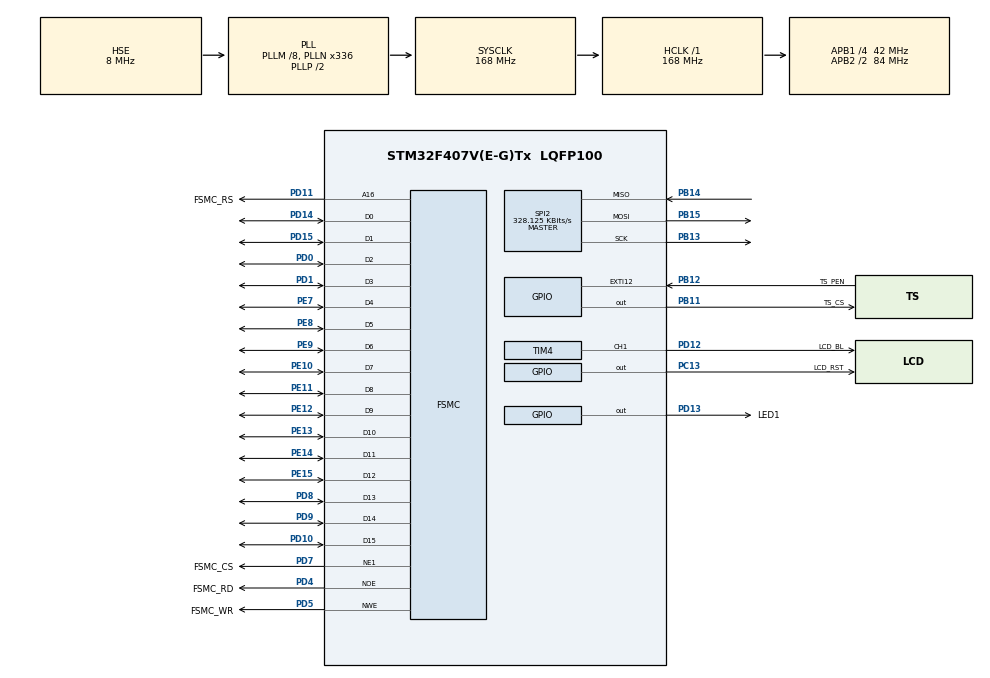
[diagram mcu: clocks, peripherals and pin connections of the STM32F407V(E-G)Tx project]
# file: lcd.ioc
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FREERTOS.Tasks01=defaultTask,0,128,StartDefaultTask
FSMC.AddressSetupTime1=2
FSMC.BusTurnAroundDuration1=0
FSMC.DataSetupTime1=5
Mcu.Family=STM32F4
Mcu.Name=STM32F407V(E-G)Tx
Mcu.Package=LQFP100
NVIC.EXTI15_10_IRQn=true\:5\:0\:false
NVIC.PriorityGroup=NVIC_PRIORITYGROUP_4
PB11.GPIO_Label=TS_CS
PB11.Signal=GPIO_Output
PB12.GPIO_Label=TS_PEN
PB12.GPIO_ModeDefaultEXTI=GPIO_MODE_IT_FALLING
PB12.Signal=GPXTI12
PB13.Mode=Full_Duplex_Master
PB13.Signal=SPI2_SCK
PB14.Mode=Full_Duplex_Master
PB14.Signal=SPI2_MISO
PB15.Mode=Full_Duplex_Master
PB15.Signal=SPI2_MOSI
PC13-ANTI_TAMP.GPIO_Label=LCD_RST
PC13-ANTI_TAMP.GPIO_ModeDefaultOutputPP=GPIO_MODE_OUTPUT_PP
PC13-ANTI_TAMP.GPIO_PuPd=GPIO_NOPULL
PC13-ANTI_TAMP.GPIO_Speed=GPIO_SPEED_LOW
PC13-ANTI_TAMP.Signal=GPIO_Output
PD0.Mode=16b-d1
PD0.Signal=FSMC_D2
PD1.Mode=16b-d1
PD1.Signal=FSMC_D3
PD10.Mode=16b-d1
PD10.Signal=FSMC_D15
PD11.GPIO_Label=FSMC_RS
PD11.Mode=A16_1
PD11.Signal=FSMC_A16
PD12.GPIO_Label=LCD_BL
PD12.Signal=S_TIM4_CH1
PD13.GPIO_Label=LED1
PD13.Signal=GPIO_Output
PD14.Mode=16b-d1
PD14.Signal=FSMC_D0
PD15.Mode=16b-d1
PD15.Signal=FSMC_D1
PD4.GPIO_Label=FSMC_RD
PD4.Mode=Lcd1
PD4.Signal=FSMC_NOE
PD5.GPIO_Label=FSMC_WR
PD5.Mode=Lcd1
PD5.Signal=FSMC_NWE
PD7.GPIO_Label=FSMC_CS
PD7.Mode=NorPsramChipSelect1_1
PD7.Signal=FSMC_NE1
PD8.Mode=16b-d1
PD8.Signal=FSMC_D13
PD9.Mode=16b-d1
PD9.Signal=FSMC_D14
PE10.Mode=16b-d1
PE10.Signal=FSMC_D7
PE11.Mode=16b-d1
PE11.Signal=FSMC_D8
PE12.Mode=16b-d1
PE12.Signal=FSMC_D9
PE13.Mode=16b-d1
PE13.Signal=FSMC_D10
PE14.Mode=16b-d1
PE14.Signal=FSMC_D11
PE15.Mode=16b-d1
PE15.Signal=FSMC_D12
PE7.Mode=16b-d1
PE7.Signal=FSMC_D4
PE8.Mode=16b-d1
PE8.Signal=FSMC_D5
PE9.Mode=16b-d1
PE9.Signal=FSMC_D6
PH0-OSC_IN.Mode=HSE-External-Oscillator
PH0-OSC_IN.Signal=RCC_OSC_IN
PH1-OSC_OUT.Mode=HSE-External-Oscillator
PH1-OSC_OUT.Signal=RCC_OSC_OUT
ProjectManager.TargetToolchain=EWARM
RCC.48MHZClocksFreq_Value=84000000
RCC.AHBFreq_Value=168000000
RCC.APB1CLKDivider=RCC_HCLK_DIV4
RCC.APB1Freq_Value=42000000
RCC.APB1TimFreq_Value=84000000
RCC.APB2CLKDivider=RCC_HCLK_DIV2
RCC.APB2Freq_Value=84000000
RCC.APB2TimFreq_Value=168000000
RCC.CortexFreq_Value=21000000
RCC.Cortex_Div=SYSTICK_CLKSOURCE_HCLK_DIV8
RCC.HCLKFreq_Value=168000000
RCC.HSE_VALUE=8000000
RCC.HSI_VALUE=16000000
RCC.LSE_VALUE=32768
RCC.PLLM=8
RCC.PLLN=336
RCC.PLLSourceVirtual=RCC_PLLSOURCE_HSE
RCC.SYSCLKFreq_VALUE=168000000
RCC.SYSCLKSource=RCC_SYSCLKSOURCE_PLLCLK
RCC.VCOOutputFreq_Value=336000000
SH.S_TIM4_CH1.0=TIM4_CH1,PWM Generation1 CH1
SPI2.BaudRatePrescaler=SPI_BAUDRATEPRESCALER_128
SPI2.CRCCalculation=SPI_CRCCALCULATION_DISABLED
SPI2.CalculateBaudRate=328.125 KBits/s
SPI2.Mode=SPI_MODE_MASTER
TIM4.Period=65535
VP_FREERTOS_VS_ENABLE.Mode=Enabled
VP_TIM4_VS_ClockSourceINT.Mode=Internal
board=lcd

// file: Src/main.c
/**
  ******************************************************************************
  * File Name          : main.c
  * Description        : Main program body
  ******************************************************************************
  *
  * COPYRIGHT(c) 2015 STMicroelectronics
  *
  * Redistribution and use in source and binary forms, with or without modification,
  * are permitted provided that the following conditions are met:
  *   1. Redistributions of source code must retain the above copyright notice,
  *      this list of conditions and the following disclaimer.
  *   2. Redistributions in binary form must reproduce the above copyright notice,
  *      this list of conditions and the following disclaimer in the documentation
  *      and/or other materials provided with the distribution.
  *   3. Neither the name of STMicroelectronics nor the names of its contributors
  *      may be used to endorse or promote products derived from this software
  *      without specific prior written permission.
  *
  * THIS SOFTWARE IS PROVIDED BY THE COPYRIGHT HOLDERS AND CONTRIBUTORS "AS IS"
  * AND ANY EXPRESS OR IMPLIED WARRANTIES, INCLUDING, BUT NOT LIMITED TO, THE
  * IMPLIED WARRANTIES OF MERCHANTABILITY AND FITNESS FOR A PARTICULAR PURPOSE ARE
  * DISCLAIMED. IN NO EVENT SHALL THE COPYRIGHT HOLDER OR CONTRIBUTORS BE LIABLE
  * FOR ANY DIRECT, INDIRECT, INCIDENTAL, SPECIAL, EXEMPLARY, OR CONSEQUENTIAL
  * DAMAGES (INCLUDING, BUT NOT LIMITED TO, PROCUREMENT OF SUBSTITUTE GOODS OR
  * SERVICES; LOSS OF USE, DATA, OR PROFITS; OR BUSINESS INTERRUPTION) HOWEVER
  * CAUSED AND ON ANY THEORY OF LIABILITY, WHETHER IN CONTRACT, STRICT LIABILITY,
  * OR TORT (INCLUDING NEGLIGENCE OR OTHERWISE) ARISING IN ANY WAY OUT OF THE USE
  * OF THIS SOFTWARE, EVEN IF ADVISED OF THE POSSIBILITY OF SUCH DAMAGE.
  *
  ******************************************************************************
  */
#include "stm32f4xx_hal.h"
#include "cmsis_os.h"

/* USER CODE BEGIN Includes */
#include "main.h"
#include "lcd.c"
#include "fonts.c"

//#include "GUI.h"
/* USER CODE END Includes */

SPI_HandleTypeDef hspi2;

TIM_HandleTypeDef htim4;

SRAM_HandleTypeDef hsram1;
osThreadId defaultTaskHandle;

/* USER CODE BEGIN PV */
/* Private variables ---------------------------------------------------------*/

/* USER CODE END PV */

void SystemClock_Config(void);
static void MX_GPIO_Init(void);
static void MX_FSMC_Init(void);
static void MX_SPI2_Init(void);
static void MX_TIM4_Init(void);
void StartDefaultTask(void const * argument);

/* USER CODE BEGIN PFP */
/* Private function prototypes -----------------------------------------------*/

/* USER CODE END PFP */

int main(void)
{

  /* MCU Configuration----------------------------------------------------------*/

  /* Reset of all peripherals, Initializes the Flash interface and the Systick. */
  HAL_Init();

  /* Configure the system clock */
  SystemClock_Config();

  /* Initialize all configured peripherals */
  MX_GPIO_Init();
  MX_FSMC_Init();
  MX_SPI2_Init();
  MX_TIM4_Init();

  /* USER CODE BEGIN 2 */
    TIM4->CCR1 = 30000;
    HAL_TIM_PWM_Start(&htim4, TIM_CHANNEL_1);

    LCD_Init();

    //GUI_Init();

    //LCD_Setup (255, 255, 255);

    LCD_Fill(COLOR.BLUE);

    //Draw_Pixel(100, 100, COLOR.YELLOW);
    //Read_Pixel(150, 150);

    //Draw_Pixel(100, 100, COLOR.YELLOW);
    //Draw_Line(110, 110, 220, 220, COLOR.RED);
    //Draw_Full_Circle(150, 100, 20, COLOR.GREEN);

    Set_Font(&Font16x24);
    Display_String(14, 295, "Digital Devices", COLOR.WHITE);
	HAL_Delay(2000);

    Draw_Image(0, 0, Tulips.height, Tulips.width, Tulips.img);
    HAL_Delay(1000);
    Draw_Image(150, 150, onoff.height, onoff.width, onoff.img);
    HAL_Delay(5000);

  /* USER CODE END 2 */

  /* Create the thread(s) */
  /* definition and creation of defaultTask */
  osThreadDef(defaultTask, StartDefaultTask, osPriorityNormal, 0, 128);
  defaultTaskHandle = osThreadCreate(osThread(defaultTask), NULL);

  /* Start scheduler */
  osKernelStart();

  /* We should never get here as control is now taken by the scheduler */

  /* Infinite loop */
    while (1)
      {

      }

}

/** System Clock Configuration
*/
void SystemClock_Config(void)
{

  RCC_OscInitTypeDef RCC_OscInitStruct;
  RCC_ClkInitTypeDef RCC_ClkInitStruct;

  __PWR_CLK_ENABLE();

  __HAL_PWR_VOLTAGESCALING_CONFIG(PWR_REGULATOR_VOLTAGE_SCALE1);

  RCC_OscInitStruct.OscillatorType = RCC_OSCILLATORTYPE_HSE;
  RCC_OscInitStruct.HSEState = RCC_HSE_ON;
  RCC_OscInitStruct.PLL.PLLState = RCC_PLL_ON;
  RCC_OscInitStruct.PLL.PLLSource = RCC_PLLSOURCE_HSE;
  RCC_OscInitStruct.PLL.PLLM = 8;
  RCC_OscInitStruct.PLL.PLLN = 336;
  RCC_OscInitStruct.PLL.PLLP = RCC_PLLP_DIV2;
  RCC_OscInitStruct.PLL.PLLQ = 4;
  HAL_RCC_OscConfig(&RCC_OscInitStruct);

  RCC_ClkInitStruct.ClockType = RCC_CLOCKTYPE_SYSCLK|RCC_CLOCKTYPE_PCLK1
                              |RCC_CLOCKTYPE_PCLK2;
  RCC_ClkInitStruct.SYSCLKSource = RCC_SYSCLKSOURCE_PLLCLK;
  RCC_ClkInitStruct.AHBCLKDivider = RCC_SYSCLK_DIV1;
  RCC_ClkInitStruct.APB1CLKDivider = RCC_HCLK_DIV4;
  RCC_ClkInitStruct.APB2CLKDivider = RCC_HCLK_DIV2;
  HAL_RCC_ClockConfig(&RCC_ClkInitStruct, FLASH_LATENCY_5);

  HAL_SYSTICK_Config(HAL_RCC_GetHCLKFreq()/8000);

  HAL_SYSTICK_CLKSourceConfig(SYSTICK_CLKSOURCE_HCLK_DIV8);

  /* SysTick_IRQn interrupt configuration */
  HAL_NVIC_SetPriority(SysTick_IRQn, 0, 0);
}

/* SPI2 init function */
void MX_SPI2_Init(void)
{

  hspi2.Instance = SPI2;
  hspi2.Init.Mode = SPI_MODE_MASTER;
  hspi2.Init.Direction = SPI_DIRECTION_2LINES;
  hspi2.Init.DataSize = SPI_DATASIZE_8BIT;
  hspi2.Init.CLKPolarity = SPI_POLARITY_LOW;
  hspi2.Init.CLKPhase = SPI_PHASE_1EDGE;
  hspi2.Init.NSS = SPI_NSS_SOFT;
  hspi2.Init.BaudRatePrescaler = SPI_BAUDRATEPRESCALER_128;
  hspi2.Init.FirstBit = SPI_FIRSTBIT_MSB;
  hspi2.Init.TIMode = SPI_TIMODE_DISABLED;
  hspi2.Init.CRCCalculation = SPI_CRCCALCULATION_DISABLED;
  hspi2.Init.CRCPolynomial = 10;
  HAL_SPI_Init(&hspi2);

}

/* TIM4 init function */
void MX_TIM4_Init(void)
{

  TIM_ClockConfigTypeDef sClockSourceConfig;
  TIM_MasterConfigTypeDef sMasterConfig;
  TIM_OC_InitTypeDef sConfigOC;

  htim4.Instance = TIM4;
  htim4.Init.Prescaler = 0;
  htim4.Init.CounterMode = TIM_COUNTERMODE_UP;
  htim4.Init.Period = 65535;
  htim4.Init.ClockDivision = TIM_CLOCKDIVISION_DIV1;
  HAL_TIM_Base_Init(&htim4);

  sClockSourceConfig.ClockSource = TIM_CLOCKSOURCE_INTERNAL;
  HAL_TIM_ConfigClockSource(&htim4, &sClockSourceConfig);

  HAL_TIM_PWM_Init(&htim4);

  sMasterConfig.MasterOutputTrigger = TIM_TRGO_RESET;
  sMasterConfig.MasterSlaveMode = TIM_MASTERSLAVEMODE_DISABLE;
  HAL_TIMEx_MasterConfigSynchronization(&htim4, &sMasterConfig);

  sConfigOC.OCMode = TIM_OCMODE_PWM1;
  sConfigOC.Pulse = 0;
  sConfigOC.OCPolarity = TIM_OCPOLARITY_HIGH;
  sConfigOC.OCFastMode = TIM_OCFAST_DISABLE;
  HAL_TIM_PWM_ConfigChannel(&htim4, &sConfigOC, TIM_CHANNEL_1);

}

/** Configure pins as
        * Analog
        * Input
        * Output
        * EVENT_OUT
        * EXTI
*/
void MX_GPIO_Init(void)
{

  GPIO_InitTypeDef GPIO_InitStruct;

  /* GPIO Ports Clock Enable */
  __GPIOC_CLK_ENABLE();
  __GPIOH_CLK_ENABLE();
  __GPIOE_CLK_ENABLE();
  __GPIOB_CLK_ENABLE();
  __GPIOD_CLK_ENABLE();

  /*Configure GPIO pin : LCD_RST_Pin */
  GPIO_InitStruct.Pin = LCD_RST_Pin;
  GPIO_InitStruct.Mode = GPIO_MODE_OUTPUT_PP;
  GPIO_InitStruct.Pull = GPIO_NOPULL;
  GPIO_InitStruct.Speed = GPIO_SPEED_LOW;
  HAL_GPIO_Init(LCD_RST_GPIO_Port, &GPIO_InitStruct);

  /*Configure GPIO pin : TS_CS_Pin */
  GPIO_InitStruct.Pin = TS_CS_Pin;
  GPIO_InitStruct.Mode = GPIO_MODE_OUTPUT_PP;
  GPIO_InitStruct.Pull = GPIO_NOPULL;
  GPIO_InitStruct.Speed = GPIO_SPEED_LOW;
  HAL_GPIO_Init(TS_CS_GPIO_Port, &GPIO_InitStruct);

  /*Configure GPIO pin : TS_PEN_Pin */
  GPIO_InitStruct.Pin = TS_PEN_Pin;
  GPIO_InitStruct.Mode = GPIO_MODE_IT_FALLING;
  GPIO_InitStruct.Pull = GPIO_NOPULL;
  HAL_GPIO_Init(TS_PEN_GPIO_Port, &GPIO_InitStruct);

  /*Configure GPIO pin : LED1_Pin */
  GPIO_InitStruct.Pin = LED1_Pin;
  GPIO_InitStruct.Mode = GPIO_MODE_OUTPUT_PP;
  GPIO_InitStruct.Pull = GPIO_NOPULL;
  GPIO_InitStruct.Speed = GPIO_SPEED_LOW;
  HAL_GPIO_Init(LED1_GPIO_Port, &GPIO_InitStruct);

  /* EXTI interrupt init*/
  HAL_NVIC_SetPriority(EXTI15_10_IRQn, 5, 0);
  HAL_NVIC_EnableIRQ(EXTI15_10_IRQn);

}

/* USER CODE BEGIN 4 */
/* FSMC initialization function */
void MX_FSMC_Init(void)
{
  FSMC_NORSRAM_TimingTypeDef Timing;

  /** Perform the SRAM1 memory initialization sequence
  */
  hsram1.Instance = FSMC_NORSRAM_DEVICE;
  hsram1.Extended = FSMC_NORSRAM_EXTENDED_DEVICE;
  /* hsram1.Init */
  hsram1.Init.NSBank = FSMC_NORSRAM_BANK1;
  hsram1.Init.DataAddressMux = FSMC_DATA_ADDRESS_MUX_DISABLE;
  hsram1.Init.MemoryType = FSMC_MEMORY_TYPE_NOR;
  hsram1.Init.MemoryDataWidth = FSMC_NORSRAM_MEM_BUS_WIDTH_16;
  hsram1.Init.BurstAccessMode = FSMC_BURST_ACCESS_MODE_DISABLE;
  hsram1.Init.WaitSignalPolarity = FSMC_WAIT_SIGNAL_POLARITY_LOW;
  hsram1.Init.WrapMode = FSMC_WRAP_MODE_DISABLE;
  hsram1.Init.WaitSignalActive = FSMC_WAIT_TIMING_BEFORE_WS;
  hsram1.Init.WriteOperation = FSMC_WRITE_OPERATION_ENABLE;
  hsram1.Init.WaitSignal = FSMC_WAIT_SIGNAL_DISABLE;
  hsram1.Init.ExtendedMode = FSMC_EXTENDED_MODE_DISABLE;
  hsram1.Init.AsynchronousWait = FSMC_ASYNCHRONOUS_WAIT_DISABLE;
  hsram1.Init.WriteBurst = FSMC_WRITE_BURST_DISABLE;
  /* Timing */
  Timing.AddressSetupTime = 2;
  Timing.AddressHoldTime = 0;
  Timing.DataSetupTime = 5;
  Timing.BusTurnAroundDuration = 0;
  Timing.CLKDivision = 0;
  Timing.DataLatency = 0;
  Timing.AccessMode = FSMC_ACCESS_MODE_B;
  /* ExtTiming */

  HAL_SRAM_Init(&hsram1, &Timing, NULL);
}

void HAL_GPIO_EXTI_Callback(uint16_t GPIO_Pin)
  {
//    uint8_t addr, data;
//    static uint16_t coordx;
    long i;

    ClrBit(TS_CS_GPIO_Port, TS_CS_Pin);

    i=0;
    while(i<100000000) i+=1;
//
//    addr = 0x90;
//
//    HAL_SPI_Transmit(&hspi2, &addr, 1, 1000);
//
//    i=0;
//    while(i<1000000) i+=1;
//
//    HAL_SPI_Receive(&hspi2, &data, 1, 1000);
//
//    coordx = data << 8;
//
//    HAL_SPI_Receive(&hspi2, &data, 1, 1000);
//
//    coordx += data;
//
    SetBit(TS_CS_GPIO_Port, TS_CS_Pin);

    ChangeBit(LED1_GPIO_Port, LED1_Pin);
  }

/* USER CODE END 4 */

/* StartDefaultTask function */
void StartDefaultTask(void const * argument)
{

  /* USER CODE BEGIN 5 */
  /* Infinite loop */
  for(;;)
  {
    LCD_Fill(COLOR.BLACK);
    osDelay(500);
    Draw_Image(0, 0, Tulips.height, Tulips.width, Tulips.img);
    osDelay(500);
  }
  /* USER CODE END 5 */
}

/************************ (C) COPYRIGHT STMicroelectronics *****END OF FILE****/
